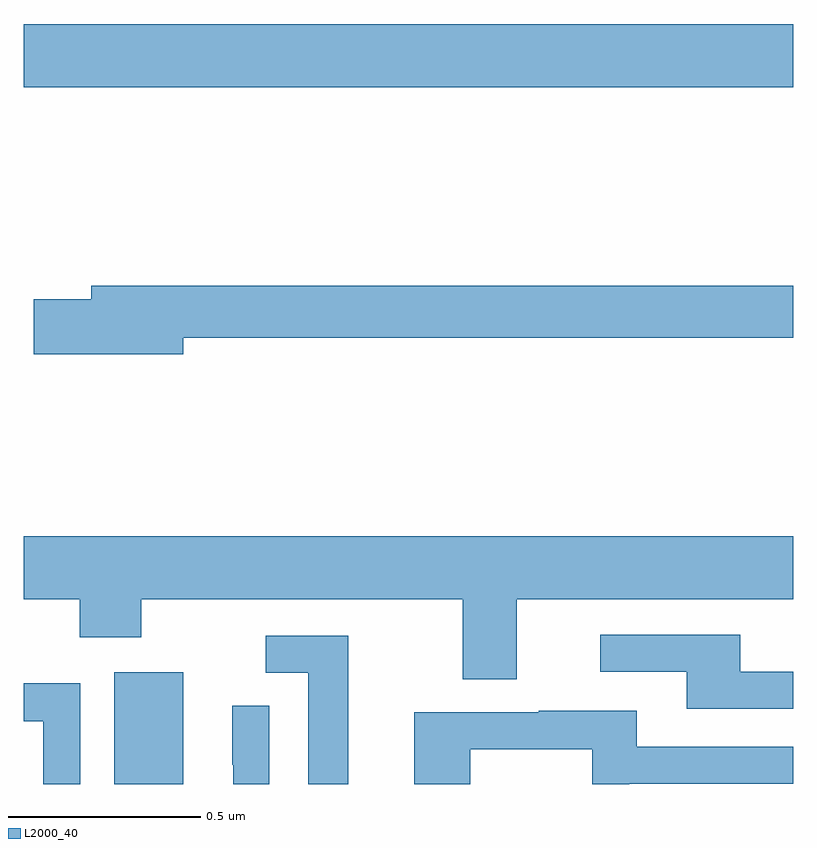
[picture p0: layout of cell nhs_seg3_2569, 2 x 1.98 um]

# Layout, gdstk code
import gdstk
lib = gdstk.Library(unit=1e-6, precision=1e-09)
def R(c, l, rs):  # rectangles x0, y0, x1, y1
    for r in rs: c.add(gdstk.rectangle(r[:2], r[2:], *l))
def P(c, l, *ps):  # polygons
    for p in ps: c.add(gdstk.Polygon(p, *l))
L2000_40 = (2000, 40)

nhs_seg3_2569 = lib.new_cell('nhs_seg3_2569')
R(nhs_seg3_2569, L2000_40, [(142.235,736.4,142.414,736.69), (142,738.212,144,738.376)])
P(nhs_seg3_2569, L2000_40, [(142.414,737.56),(144,737.56),(144,737.696),(142.175,737.696),(142.175,737.66),(142.026,737.66),(142.026,737.518),(142.414,737.518)],
  [(143.281,736.88),(144,736.88),(144,737.044),(142,737.044),(142,736.88),(142.145,736.88),(142.145,736.781),(142.305,736.781),(142.305,736.88),(143.141,736.88),(143.141,736.672),(143.281,736.672)],
  [(144,736.692),(143.863,736.692),(143.863,736.788),(143.499,736.788),(143.499,736.692),(143.723,736.692),(143.723,736.596),(144,736.596)],
  [(142.843,736.785),(142.629,736.785),(142.629,736.689),(142.739,736.689),(142.739,736.4),(142.843,736.4)],
  [(142.146,736.662),(142,736.662),(142,736.563),(142.05,736.563),(142.05,736.4),(142.146,736.4)],
  [(142.638,736.604),(142.542,736.604),(142.542,736.45),(142.544,736.45),(142.544,736.4),(142.638,736.4)],
  [(143.16,736.491),(143.478,736.491),(143.478,736.4),(143.574,736.4),(143.574,736.401),(144,736.401),(144,736.497),(143.593,736.497),(143.593,736.591),(143.339,736.591),(143.339,736.587),(143.015,736.587),(143.015,736.4),(143.16,736.4)])

lib.write_gds('nhs_seg3_2569.gds')
